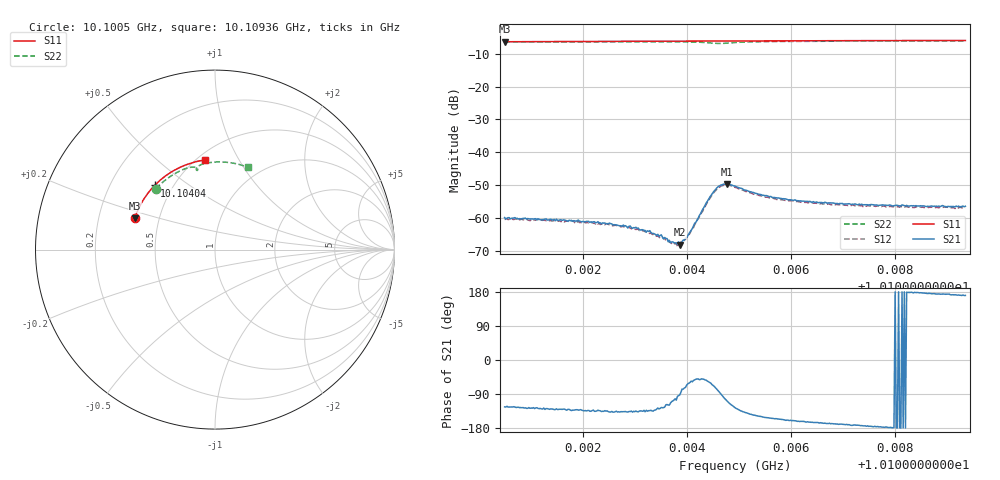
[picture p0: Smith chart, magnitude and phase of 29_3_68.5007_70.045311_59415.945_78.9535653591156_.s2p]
#  HZ  S  RI  R  50.00
! Rohde & Schwarz Vector Network Analyzer
! Rohde-Schwarz,ZNB20-2Port,1311601062101988,3.16
! Created: UTC 3/20/2024, 5:05:01 PM
! freq[Hz]  re:S11  im:S11  re:S21  im:S21  re:S12  im:S12  re:S22  im:S22
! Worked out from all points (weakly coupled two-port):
!   401 points, 10.1005 GHz to 10.10936 GHz, reference 50 ohm
!   highest |S21| = -49.70 dB at 10.10477 GHz (marker M1); lowest = -68.1 dB at 10.10386 GHz (marker M2)
!   lowest |S11| = -6.4 dB at 10.1005 GHz (marker M3), VSWR 2.85, Z = 18.1 + j8.21 ohm
!   |S11| at or under -10 dB: nowhere
!   |S22| runs from -6.9 to -6.1 dB; largest |S21 - S12| = 0.00031
!   S11 on the Smith chart (normalised r, x): 10.1005 GHz: 0.36, +0.16; 10.10404 GHz: 0.40, +0.37; 10.10936 GHz: 0.55, +0.73
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1.0100496e10  -0.4472 0.1744  -0.000562 -0.000842  -0.000443 -0.000836  -0.329 0.3393
1.010198e10  -0.411 0.2572  -0.000588 -0.000642  -0.000527 -0.000657  -0.2567 0.4022
1.0102511e10  -0.3945 0.2849  -0.000612 -0.000567  -0.000515 -0.000589  -0.2273 0.4211
1.0102844e10  -0.3831 0.3015  -0.000538 -0.0005  -0.000471 -0.000535  -0.2082 0.4319
1.0103176e10  -0.371 0.3177  -0.000438 -0.000472  -0.000402 -0.000485  -0.188 0.4416
1.0103464e10  -0.3601 0.3315  -0.000328 -0.000404  -0.000272 -0.000437  -0.1697 0.4492
1.0103685e10  -0.3514 0.3416  -0.000165 -0.000382  -0.000143 -0.000399  -0.1549 0.4541
1.0103774e10  -0.3478 0.3457  -8.81e-05 -0.000406  -6.78e-05 -0.000394  -0.1487 0.456
1.0103863e10  -0.3441 0.3494  -1.5e-05 -0.000391  2.83e-05 -0.000405  -0.1423 0.4575
1.0103951e10  -0.3404 0.3535  0.000129 -0.000441  0.000152 -0.000429  -0.1356 0.4588
1.010404e10  -0.3366 0.3573  0.000278 -0.000508  0.00027 -0.000479  -0.1289 0.4596
1.0104394e10  -0.3212 0.3723  0.00101 -0.00147  0.00108 -0.00134  -0.1008 0.4538
1.0104527e10  -0.3154 0.3778  0.000893 -0.00242  0.00101 -0.00225  -0.0961 0.4455
1.0104638e10  -0.3106 0.3822  0.00017 -0.0031  0.00041 -0.00294  -0.0989 0.4409
1.0104771e10  -0.3044 0.3874  -0.000998 -0.00312  -0.000725 -0.00308  -0.1039 0.4451
1.0104926e10  -0.2975 0.3936  -0.00179 -0.00247  -0.00149 -0.00252  -0.1014 0.4561
1.0105214e10  -0.2838 0.4045  -0.002 -0.0015  -0.00179 -0.00161  -0.084 0.4706
1.0105568e10  -0.2664 0.4171  -0.00189 -0.000983  -0.00171 -0.00111  -0.0592 0.4796
1.0105967e10  -0.2463 0.4307  -0.00177 -0.000644  -0.00163 -0.000795  -0.0321 0.485
1.010641e10  -0.2232 0.4441  -0.00166 -0.000472  -0.00158 -0.000616  -0.00238 0.4879
1.0107894e10  -0.1408 0.4798  -0.00157 -4.81e-05  -0.00148 -0.000205  0.0935 0.4828
1.0109356e10  -0.0549 0.4994  -0.00148 0.000251  -0.00142 9.5e-05  0.1838 0.4593
